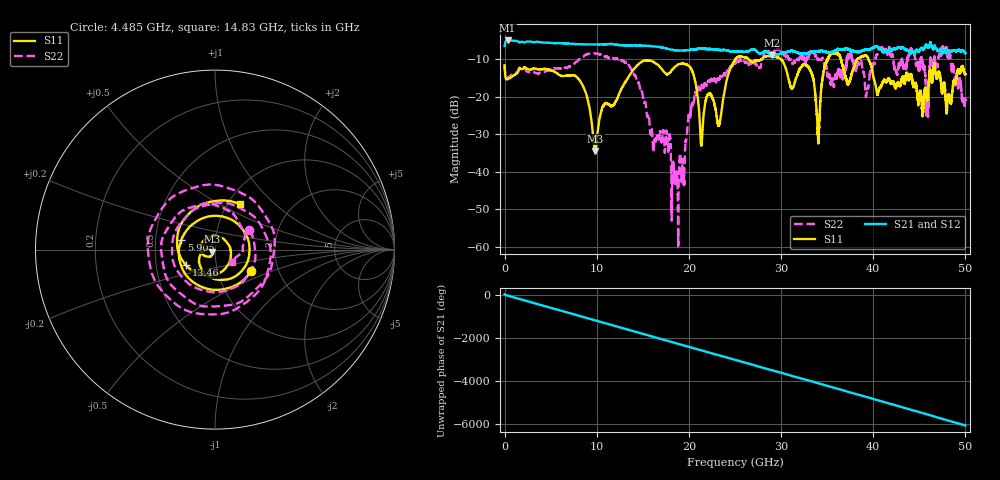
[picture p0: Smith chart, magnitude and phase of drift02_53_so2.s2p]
!Created with skrf (http://scikit-rf.org).
# Hz S RI R 50.0
!freq ReS11 ImS11 ReS21 ImS21 ReS12 ImS12 ReS22 ImS22
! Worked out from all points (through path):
!   10001 points, 300 kHz to 50 GHz, reference 50 ohm
!   highest |S21| = -5.04 dB at 325.3 MHz (marker M1); lowest = -9.0 dB at 29 GHz (marker M2)
!   group delay of S21, straight-line fit = 336 ps
!   lowest |S11| = -34.5 dB at 9.85 GHz (marker M3), VSWR 1.04, Z = 48.5 - j1.11 ohm
!   |S11| at or under -10 dB: start of sweep to 25.07 GHz; 29.97 GHz to 35.06 GHz (5.091 GHz wide, 15.7 % of centre); 39.48 GHz to end of sweep (the widest 3 of 9)
!   |S22| runs from -59.9 to -6.5 dB; largest |S21 - S12| = 0.022
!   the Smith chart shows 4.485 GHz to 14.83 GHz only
!   S11 on the Smith chart (normalised r, x): 4.485 GHz: 1.45, -0.36; 5.905 GHz: 0.68, +0.08; 13.46 GHz: 0.71, -0.13; 14.83 GHz: 1.15, +0.63
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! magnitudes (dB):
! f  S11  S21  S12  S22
! 300 kHz  -11.7  -6.5  -6.4  -11.6
! 325.3 MHz  -15.4  -5.0  -5.0  -15.0
! 4.485 GHz  -12.6  -5.6  -5.6  -13.2
! 5.905 GHz  -14.2  -5.7  -5.7  -12.4
! 8.335 GHz  -16.4  -6.0  -6.0  -9.6
! 9.85 GHz  -34.5  -6.1  -6.1  -8.5
! 13.46 GHz  -14.7  -6.4  -6.4  -11.6
! 14.83 GHz  -10.8  -6.4  -6.4  -18.5
! 16.67 GHz  -11.6  -6.7  -6.7  -31.0
! 18.67 GHz  -11.8  -7.7  -7.7  -40.7
! 20.37 GHz  -13.3  -7.5  -7.5  -22.0
! 21.37 GHz  -32.7  -7.3  -7.2  -17.0
! 23.31 GHz  -27.3  -7.5  -7.6  -15.7
! 25 GHz  -10.2  -7.9  -7.9  -11.2
! 29 GHz  -9.1  -9.0  -9.0  -8.2
! 33.34 GHz  -14.0  -8.0  -8.1  -8.1
! 34.02 GHz  -31.6  -7.9  -7.9  -10.3
! 35.54 GHz  -8.3  -8.1  -8.1  -15.3
! 41.67 GHz  -15.3  -7.7  -7.8  -7.5
! 45.87 GHz  -20.3  -6.8  -6.9  -22.6
! 47.76 GHz  -16.9  -7.5  -7.5  -7.5
! 50 GHz  -14.1  -8.4  -8.4  -20.2
